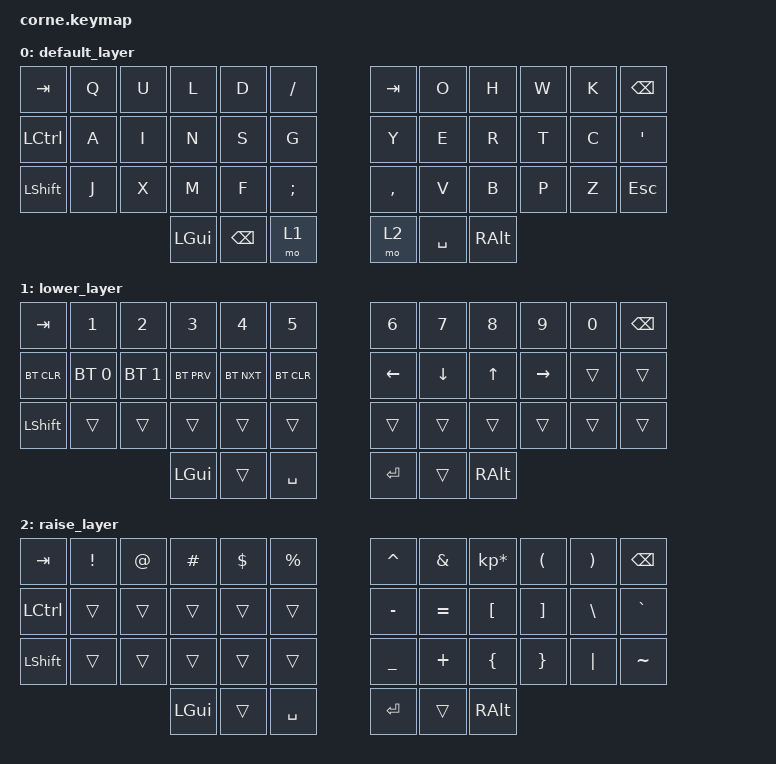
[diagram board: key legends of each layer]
/*
 * Copyright (c) 2020 The ZMK Contributors
 *
 * SPDX-License-Identifier: MIT
 */

#include <behaviors.dtsi>
#include <dt-bindings/zmk/keys.h>
#include <dt-bindings/zmk/bt.h>

/ {
        keymap {
                compatible = "zmk,keymap";

                default_layer {
// -----------------------------------------------------------------------------------------
// |  TAB |  Q  |  W  |  F  |  P  |  B  |   |  J  |  L   |  U  |  Y  |  ;  | BKSP |
// | CTRL |  A  |  R  |  S  |  T  |  G  |   |  M  |  N   |  E  |  I  |  O  |  '   |
// | SHFT |  Z  |  X  |  C  |  D  |  V  |   |  K  |  H   |  ,  |  .  |  /  | ESC  |
//                    | GUI | SPC | LWR |   | RSE | ENT  | ALT |
                        bindings = <
   &kp TAB   &kp Q &kp U &kp L &kp D &kp FSLH      &kp TAB &kp O  &kp H     &kp W   &kp K    &kp BSPC
   &kp LCTRL &kp A &kp I &kp N &kp S &kp G      &kp Y &kp E  &kp R     &kp T   &kp C    &kp SQT
   &kp LSHFT &kp J &kp X &kp M &kp F &kp SEMI   &kp COMMA &kp V  &kp B &kp P   &kp Z &kp ESC
                  &kp LGUI  &kp BSPC &mo 1   &mo 2 &kp SPC &kp RALT
                        >;
                };

                lower_layer {
// -----------------------------------------------------------------------------------------
// |  TAB |  1  |  2  |  3  |  4  |  5  |   |  6  |  7  |  8  |  9  |  0  | BKSP |
// | BTCLR| BT1 | BT2 | BT3 | BT4 | BT5 |   | LFT | DWN |  UP | RGT |     |      |
// | SHFT |     |     |     |     |     |   |     |     |     |     |     |      |
//                    | GUI |     | SPC |   | ENT |     | ALT |
                        bindings = <
   &kp TAB    &kp N1       &kp N2       &kp N3       &kp N4       &kp N5         &kp N6   &kp N7   &kp N8 &kp N9    &kp N0 &kp BSPC
   &bt BT_CLR &bt BT_SEL 0 &bt BT_SEL 1 &bt BT_PRV   &bt BT_NXT   &bt BT_CLR     &kp LEFT &kp DOWN &kp UP &kp RIGHT &trans &trans
   &kp LSHFT  &trans       &trans       &trans       &trans       &trans         &trans   &trans   &trans &trans    &trans &trans
                                    &kp LGUI     &trans       &kp SPACE      &kp RET  &trans   &kp RALT
                        >;
                };

                raise_layer {
// -----------------------------------------------------------------------------------------
// |  TAB |  !  |  @  |  #  |  $  |  %  |   |  ^  |  &  |  *  |  (  |  )  | BKSP |
// | CTRL |     |     |     |     |     |   |  -  |  =  |  [  |  ]  |  \  |  `   |
// | SHFT |     |     |     |     |     |   |  _  |  +  |  {  |  }  | "|" |  ~   |
//                    | GUI |     | SPC |   | ENT |     | ALT |
                        bindings = <
   &kp  TAB  &kp EXCL &kp AT &kp HASH &kp DLLR &kp PRCNT   &kp CARET &kp AMPS  &kp KP_MULTIPLY &kp LPAR &kp RPAR &kp BSPC
   &kp LCTRL &trans   &trans &trans   &trans   &trans      &kp MINUS &kp EQUAL &kp LBKT        &kp RBKT &kp BSLH &kp GRAVE
   &kp LSHFT &trans   &trans &trans   &trans   &trans      &kp UNDER &kp PLUS  &kp LBRC        &kp RBRC &kp PIPE &kp TILDE
                             &kp LGUI &trans   &kp SPACE   &kp RET   &trans    &kp RALT
                        >;
                };
        };
};
